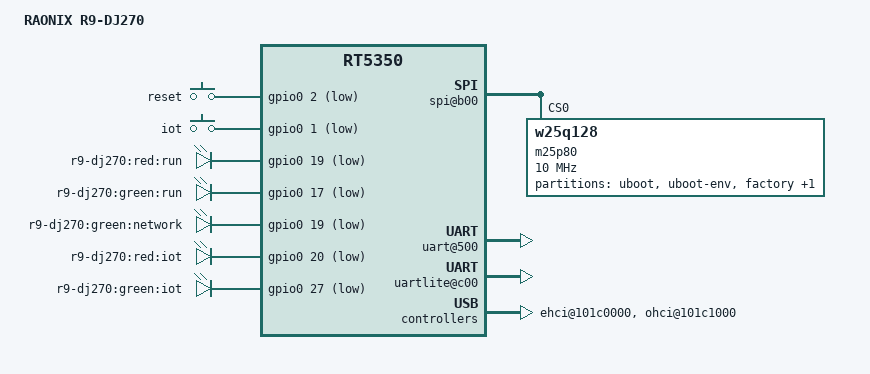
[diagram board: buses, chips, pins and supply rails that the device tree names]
/dts-v1/;

#include "rt5350.dtsi"

/ {
	compatible = "r9-dj270", "ralink,rt5350-soc";
	model = "RAONIX R9-DJ270";

	chosen {
		bootargs = "console=ttyS1,57600";
	};

	palmbus@10000000 {
		gpio1: gpio@660 {
			status = "okay";
		};

		spi@b00 {
			status = "okay";

			m25p80@0 {
				#address-cells = <1>;
				#size-cells = <1>;
				compatible = "w25q128";
				reg = <0>;
				linux,modalias = "m25p80", "w25q128";
				spi-max-frequency = <10000000>;

				partition@0 {
					label = "uboot";
					reg = <0x0 0x30000>;
					read-only;
				};

				partition@30000 {
					label = "uboot-env";
					reg = <0x30000 0x10000>;
					read-only;
				};

				factory: partition@40000 {
					label = "factory";
					reg = <0x40000 0x10000>;
					read-only;
				};

				 partition@50000 {
					 label = "firmware";
					 reg = <0x50000 0x760000>;
				 };
			};
		};

		uart@500 {
			compatible = "ralink,mt7620a-uart", "ralink,rt2880-uart", "ns16550a";
			reg = <0x500 0x100>;
			resets = <&rstctrl 12>;
			reset-names = "uart";
			interrupt-parent = <&intc>;
			interrupts = <5>;
			reg-shift = <2>;
			status = "okay";
		};

		uartlite@c00 {
			compatible = "ralink,mt7620a-uart", "ralink,rt2880-uart", "ns16550a";
			reg = <0xc00 0x100>;
			resets = <&rstctrl 19>;
			reset-names = "uartl";
			interrupt-parent = <&intc>;
			interrupts = <12>;
			reg-shift = <2>;
			pinctrl-names = "default";
			pinctrl-0 = <&uartlite_pins>;
		};
	};

	pinctrl {
		state_default: pinctrl0 {
			gpio {
				ralink,group = "uartf" ;
				ralink,function = "gpio";
			};
		};

		uartf_gpio_pins: uartf_gpio {
			uartf_gpio {
				ralink,group = "uartf";
				ralink,function = "uartf";
			};
		};

		uartlite_pins: uartlite {
			uart {
				ralink,group = "uartlite";
				ralink,function = "uartlite";
			};
		};
	};

	ethernet@10100000 {
		mtd-mac-address = <&factory 0x4>;
	};

	esw@10110000 {
		mediatek,portmap = <0x17>;
	};

	wmac@10180000 {
		ralink,mtd-eeprom = <&factory 0>;
	};

	ehci@101c0000 {
		status = "okay";
	};

	ohci@101c1000 {
		status = "okay";
	};

	gpio-export {
		compatible = "gpio-export";
		#size-cells = <0>;
	};

	gpio-keys-polled {
		compatible = "gpio-keys-polled";
		#address-cells = <1>;
		#size-cells = <0>;
		poll-interval = <20>;

		reset {
			label = "reset";
			gpios = <&gpio0 2 1>;
			linux,code = <0x198>;
		};
		iot {
			label = "iot";
			gpios = <&gpio0 1 1>;
			linux,code = <0x100>;
		};
	};

	gpio-leds {
		compatible = "gpio-leds";

		run-red {
			label = "r9-dj270:red:run";
			gpios = <&gpio0 19 1>;
			default-state = "on";
		};
		run-green {
			label = "r9-dj270:green:run";
			gpios = <&gpio0 17 1>;
			default-state = "on";
		};
		network-green {
			label = "r9-dj270:green:network";
			gpios = <&gpio0 19 1>;
		};
		iot-red {
			label = "r9-dj270:red:iot";
			gpios = <&gpio0 20 1>;
		};
		iot-green {
			label = "r9-dj270:green:iot";
			gpios = <&gpio0 27 1>;
		};
	};
};
